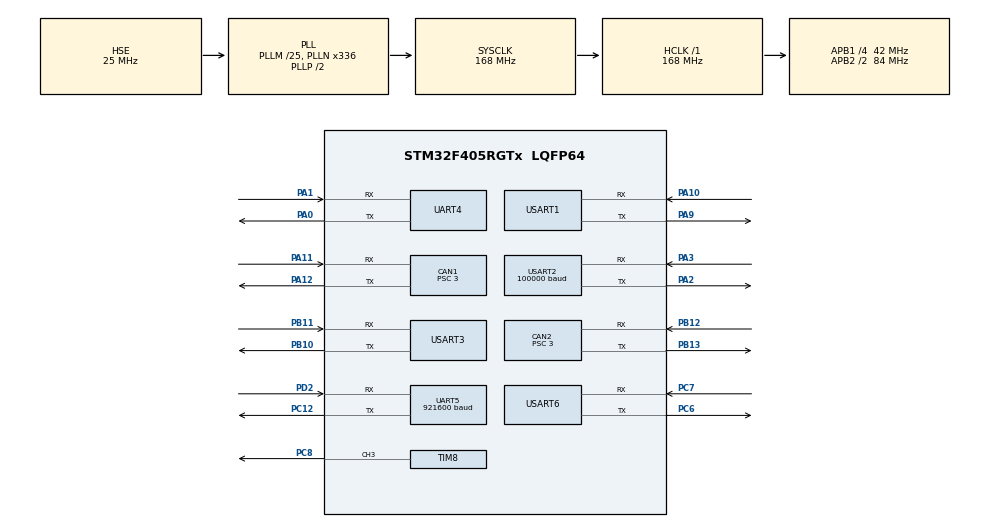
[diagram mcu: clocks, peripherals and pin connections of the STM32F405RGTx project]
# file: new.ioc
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CAN1.ABOM=ENABLE
CAN1.AWUM=ENABLE
CAN1.BS1=CAN_BS1_9TQ
CAN1.BS2=CAN_BS2_4TQ
CAN1.CalculateBaudRate=1000000
CAN1.CalculateTimeBit=1000
CAN1.CalculateTimeQuantum=71.42857142857143
CAN1.NART=DISABLE
CAN1.Prescaler=3
CAN1.TXFP=ENABLE
CAN2.ABOM=ENABLE
CAN2.AWUM=ENABLE
CAN2.BS1=CAN_BS1_9TQ
CAN2.BS2=CAN_BS2_4TQ
CAN2.CalculateBaudRate=1000000
CAN2.CalculateTimeBit=1000
CAN2.CalculateTimeQuantum=71.42857142857143
CAN2.NART=ENABLE
CAN2.Prescaler=3
CAN2.TXFP=ENABLE
Dma.Request0=USART2_RX
Dma.Request1=UART4_RX
Dma.Request2=UART5_RX
Dma.Request3=USART1_RX
Dma.Request4=USART6_RX
Dma.Request5=USART6_TX
Dma.UART4_RX.1.Direction=DMA_PERIPH_TO_MEMORY
Dma.UART4_RX.1.FIFOMode=DMA_FIFOMODE_DISABLE
Dma.UART4_RX.1.Instance=DMA1_Stream2
Dma.UART4_RX.1.MemDataAlignment=DMA_MDATAALIGN_BYTE
Dma.UART4_RX.1.MemInc=DMA_MINC_ENABLE
Dma.UART4_RX.1.Mode=DMA_CIRCULAR
Dma.UART4_RX.1.PeriphDataAlignment=DMA_PDATAALIGN_BYTE
Dma.UART4_RX.1.PeriphInc=DMA_PINC_DISABLE
Dma.UART4_RX.1.Priority=DMA_PRIORITY_VERY_HIGH
Dma.UART5_RX.2.Direction=DMA_PERIPH_TO_MEMORY
Dma.UART5_RX.2.FIFOMode=DMA_FIFOMODE_DISABLE
Dma.UART5_RX.2.Instance=DMA1_Stream0
Dma.UART5_RX.2.MemDataAlignment=DMA_MDATAALIGN_BYTE
Dma.UART5_RX.2.MemInc=DMA_MINC_ENABLE
Dma.UART5_RX.2.Mode=DMA_CIRCULAR
Dma.UART5_RX.2.PeriphDataAlignment=DMA_PDATAALIGN_BYTE
Dma.UART5_RX.2.PeriphInc=DMA_PINC_DISABLE
Dma.UART5_RX.2.Priority=DMA_PRIORITY_VERY_HIGH
Dma.USART1_RX.3.Direction=DMA_PERIPH_TO_MEMORY
Dma.USART1_RX.3.FIFOMode=DMA_FIFOMODE_DISABLE
Dma.USART1_RX.3.Instance=DMA2_Stream2
Dma.USART1_RX.3.MemDataAlignment=DMA_MDATAALIGN_BYTE
Dma.USART1_RX.3.MemInc=DMA_MINC_ENABLE
Dma.USART1_RX.3.Mode=DMA_CIRCULAR
Dma.USART1_RX.3.PeriphDataAlignment=DMA_PDATAALIGN_BYTE
Dma.USART1_RX.3.PeriphInc=DMA_PINC_DISABLE
Dma.USART1_RX.3.Priority=DMA_PRIORITY_VERY_HIGH
Dma.USART2_RX.0.Direction=DMA_PERIPH_TO_MEMORY
Dma.USART2_RX.0.FIFOMode=DMA_FIFOMODE_DISABLE
Dma.USART2_RX.0.Instance=DMA1_Stream5
Dma.USART2_RX.0.MemDataAlignment=DMA_MDATAALIGN_BYTE
Dma.USART2_RX.0.MemInc=DMA_MINC_ENABLE
Dma.USART2_RX.0.Mode=DMA_NORMAL
Dma.USART2_RX.0.PeriphDataAlignment=DMA_PDATAALIGN_BYTE
Dma.USART2_RX.0.PeriphInc=DMA_PINC_DISABLE
Dma.USART2_RX.0.Priority=DMA_PRIORITY_VERY_HIGH
Dma.USART6_RX.4.Direction=DMA_PERIPH_TO_MEMORY
Dma.USART6_RX.4.FIFOMode=DMA_FIFOMODE_DISABLE
Dma.USART6_RX.4.Instance=DMA2_Stream1
Dma.USART6_RX.4.MemDataAlignment=DMA_MDATAALIGN_BYTE
Dma.USART6_RX.4.MemInc=DMA_MINC_ENABLE
Dma.USART6_RX.4.Mode=DMA_CIRCULAR
Dma.USART6_RX.4.PeriphDataAlignment=DMA_PDATAALIGN_BYTE
Dma.USART6_RX.4.PeriphInc=DMA_PINC_DISABLE
Dma.USART6_RX.4.Priority=DMA_PRIORITY_LOW
Dma.USART6_TX.5.Direction=DMA_MEMORY_TO_PERIPH
Dma.USART6_TX.5.FIFOMode=DMA_FIFOMODE_DISABLE
Dma.USART6_TX.5.Instance=DMA2_Stream6
Dma.USART6_TX.5.MemDataAlignment=DMA_MDATAALIGN_BYTE
Dma.USART6_TX.5.MemInc=DMA_MINC_ENABLE
Dma.USART6_TX.5.Mode=DMA_CIRCULAR
Dma.USART6_TX.5.PeriphDataAlignment=DMA_PDATAALIGN_BYTE
Dma.USART6_TX.5.PeriphInc=DMA_PINC_DISABLE
Dma.USART6_TX.5.Priority=DMA_PRIORITY_LOW
FREERTOS.INCLUDE_vTaskDelayUntil=1
FREERTOS.Tasks01=led__task,0,128,led_task,Default,NULL,Dynamic,NULL,NULL;Gimbal__Task,-1,512,Gimbal_Task,Default,NULL,Dynamic,NULL,NULL;can__Task,1,512,can_Task,Default,NULL,Dynamic,NULL,NULL;vofa__Task,-2,128,vofa_Task,Default,NULL,Dynamic,NULL,NULL;Detect__Task,-1,512,Detect_Task,Default,NULL,Dynamic,NULL,NULL
IWDG.Prescaler=IWDG_PRESCALER_32
IWDG.Reload=100
Mcu.Family=STM32F4
Mcu.Name=STM32F405RGTx
Mcu.Package=LQFP64
NVIC.CAN1_RX0_IRQn=true\:5\:0\:true\:false\:true\:true\:true\:true\:true
NVIC.CAN2_RX0_IRQn=true\:5\:0\:true\:false\:true\:true\:true\:true\:true
NVIC.DMA1_Stream0_IRQn=true\:5\:0\:false\:false\:true\:true\:false\:true\:true
NVIC.DMA1_Stream2_IRQn=true\:5\:0\:false\:false\:true\:true\:false\:true\:true
NVIC.DMA1_Stream5_IRQn=true\:5\:0\:true\:false\:true\:true\:false\:true\:true
NVIC.DMA2_Stream1_IRQn=true\:5\:0\:false\:false\:true\:true\:false\:true\:true
NVIC.DMA2_Stream2_IRQn=true\:5\:0\:false\:false\:true\:true\:false\:true\:true
NVIC.DMA2_Stream6_IRQn=true\:5\:0\:false\:false\:true\:true\:false\:true\:true
NVIC.PriorityGroup=NVIC_PRIORITYGROUP_4
NVIC.TIM8_TRG_COM_TIM14_IRQn=true\:15\:0\:true\:false\:true\:false\:false\:true\:true
NVIC.TimeBase=TIM8_TRG_COM_TIM14_IRQn
NVIC.TimeBaseIP=TIM14
NVIC.UART4_IRQn=true\:8\:0\:true\:false\:true\:true\:true\:true\:true
NVIC.UART5_IRQn=true\:5\:0\:true\:false\:true\:true\:true\:true\:true
NVIC.USART1_IRQn=true\:7\:0\:true\:false\:true\:true\:true\:true\:true
NVIC.USART2_IRQn=true\:7\:0\:true\:false\:true\:true\:true\:true\:true
NVIC.USART6_IRQn=true\:9\:0\:true\:false\:true\:true\:true\:true\:true
PA0-WKUP.Mode=Asynchronous
PA0-WKUP.Signal=UART4_TX
PA1.Mode=Asynchronous
PA1.Signal=UART4_RX
PA10.Mode=Asynchronous
PA10.Signal=USART1_RX
PA11.GPIO_PuPd=GPIO_NOPULL
PA11.Mode=CAN_Activate
PA11.Signal=CAN1_RX
PA12.Mode=CAN_Activate
PA12.Signal=CAN1_TX
PA13.Mode=Serial_Wire
PA13.Signal=SYS_JTMS-SWDIO
PA14.Mode=Serial_Wire
PA14.Signal=SYS_JTCK-SWCLK
PA2.GPIO_PuPd=GPIO_PULLUP
PA2.Mode=Asynchronous
PA2.Signal=USART2_TX
PA3.GPIO_PuPd=GPIO_PULLUP
PA3.Mode=Asynchronous
PA3.Signal=USART2_RX
PA9.Mode=Asynchronous
PA9.Signal=USART1_TX
PB10.Mode=Asynchronous
PB10.Signal=USART3_TX
PB11.Mode=Asynchronous
PB11.Signal=USART3_RX
PB12.Mode=CAN_Activate
PB12.Signal=CAN2_RX
PB13.Mode=CAN_Activate
PB13.Signal=CAN2_TX
PC12.Mode=Asynchronous
PC12.Signal=UART5_TX
PC6.Mode=Asynchronous
PC6.Signal=USART6_TX
PC7.Mode=Asynchronous
PC7.Signal=USART6_RX
PC8.Signal=S_TIM8_CH3
PD2.Mode=Asynchronous
PD2.Signal=UART5_RX
PH0-OSC_IN.Mode=HSE-External-Oscillator
PH0-OSC_IN.Signal=RCC_OSC_IN
PH1-OSC_OUT.Mode=HSE-External-Oscillator
PH1-OSC_OUT.Signal=RCC_OSC_OUT
ProjectManager.HeapSize=0x800
ProjectManager.StackSize=0x800
ProjectManager.TargetToolchain=MDK-ARM V5
RCC.48MHZClocksFreq_Value=84000000
RCC.AHBFreq_Value=168000000
RCC.APB1CLKDivider=RCC_HCLK_DIV4
RCC.APB1Freq_Value=42000000
RCC.APB1TimFreq_Value=84000000
RCC.APB2CLKDivider=RCC_HCLK_DIV2
RCC.APB2Freq_Value=84000000
RCC.APB2TimFreq_Value=168000000
RCC.CortexFreq_Value=168000000
RCC.HCLKFreq_Value=168000000
RCC.HSE_VALUE=25000000
RCC.HSI_VALUE=16000000
RCC.LSE_VALUE=32768
RCC.PLLM=25
RCC.PLLN=336
RCC.PLLSourceVirtual=RCC_PLLSOURCE_HSE
RCC.SYSCLKFreq_VALUE=168000000
RCC.SYSCLKSource=RCC_SYSCLKSOURCE_PLLCLK
RCC.VCOOutputFreq_Value=336000000
SH.S_TIM8_CH3.0=TIM8_CH3,PWM Generation3 CH3
STMicroelectronics.X-CUBE-ALGOBUILD.1.3.0.LibraryCcDSPOoLibraryJjDSPOoLibrary=true
TIM8.AutoReloadPreload=TIM_AUTORELOAD_PRELOAD_ENABLE
TIM8.Channel-PWM\ Generation3\ CH3=TIM_CHANNEL_3
TIM8.OCPolarity_3=TIM_OCPOLARITY_HIGH
TIM8.Period=20000-1
TIM8.Prescaler=168-1
TIM8.Pulse-PWM\ Generation3\ CH3=2340
TIM8.RepetitionCounter=250
UART4.VirtualMode=Asynchronous
UART5.BaudRate=921600
UART5.VirtualMode=Asynchronous
USART1.VirtualMode=VM_ASYNC
USART2.BaudRate=100000
USART2.Parity=PARITY_EVEN
USART2.VirtualMode=VM_ASYNC
USART2.WordLength=WORDLENGTH_9B
USART3.VirtualMode=VM_ASYNC
USART6.VirtualMode=VM_ASYNC
VP_FREERTOS_VS_CMSIS_V1.Mode=CMSIS_V1
VP_IWDG_VS_IWDG.Mode=IWDG_Activate
VP_STMicroelectronics.X-CUBE-ALGOBUILD_VS_DSPOoLibraryJjLibrary_1.3.0_1.3.0.Mode=DSPOoLibraryJjLibrary
VP_SYS_VS_tim14.Mode=TIM14
board=custom

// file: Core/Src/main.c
/* USER CODE BEGIN Header */
/**
  ******************************************************************************
  * @file           : main.c
  * @brief          : Main program body
  ******************************************************************************
  * @attention
  *
  * Copyright (c) 2022 STMicroelectronics.
  * All rights reserved.
  *
  * This software is licensed under terms that can be found in the LICENSE file
  * in the root directory of this software component.
  * If no LICENSE file comes with this software, it is provided AS-IS.
  *
  ******************************************************************************
  */
/* USER CODE END Header */
#include "main.h"
#include "cmsis_os.h"
#include "can.h"
#include "dma.h"
#include "iwdg.h"
#include "tim.h"
#include "usart.h"
#include "gpio.h"

/* USER CODE BEGIN Includes */
#include "rc.h"
#include "pid.h"
#include "imu_data_decode.h"
#include "Report.h"
#include "vision.h"
extern void PID_init(void);
/* USER CODE END Includes */

/* USER CODE BEGIN PV */
extern uint8_t hi229_data;
extern uint8_t MPU_data;
extern uint8_t UART1_Rx_Buf[14];
extern uint8_t ranging_rc_buffer[8];
/* USER CODE END PV */

void SystemClock_Config(void);
void MX_FREERTOS_Init(void);

/* USER CODE BEGIN 0 */

extern unsigned char sbus_rx_buffer[2][RC_FRAME_LENGTH]; //double sbus rx buffer to save data
extern uint8_t UART4_Rx_temp[2][REFFER_REC_LENGTH];
extern uint8_t UART4_Flag;
/* USER CODE END 0 */

int main(void)
{

  /* MCU Configuration--------------------------------------------------------*/

  /* Reset of all peripherals, Initializes the Flash interface and the Systick. */
  HAL_Init();

  /* Configure the system clock */
  SystemClock_Config();

  /* Initialize all configured peripherals */
  MX_GPIO_Init();
  MX_DMA_Init();
  MX_CAN1_Init();
  MX_CAN2_Init();
  MX_USART2_UART_Init();
  MX_UART5_Init();
  MX_TIM8_Init();
  MX_USART3_UART_Init();
  MX_UART4_Init();
  MX_USART1_UART_Init();
  MX_IWDG_Init();
  MX_USART6_UART_Init();
  /* USER CODE BEGIN 2 */
	CAN1_Filterinit_And_Start();
	CAN2_Filterinit_And_Start();
	PID_init();
  Usart_Init_Report();
  imu_data_decode_init();

  HAL_TIM_PWM_Start(&htim8,TIM_CHANNEL_3);

/*
  __HAL_UART_ENABLE_IT(&huart1, UART_IT_IDLE);
	HAL_UART_Receive_DMA(&huart1,UART1_Rx_Buf,6);
*/

	HAL_UART_Receive_DMA(&huart5,&MPU_data,1);
  //__HAL_TIM_SET_COMPARE(&htim8,TIM_CHANNEL_3,100);

	HAL_UART_Receive_DMA(&huart2,&sbus_rx_buffer[0][0],RC_FRAME_LENGTH);
	HAL_UART_Receive_DMA(&huart6,(uint8_t*)&ranging_rc_buffer[0],8u);

  /* USER CODE END 2 */

  /* Call init function for freertos objects (in freertos.c) */
  MX_FREERTOS_Init();

  /* Start scheduler */
  osKernelStart();

  /* We should never get here as control is now taken by the scheduler */
  /* Infinite loop */
  while (1)
  {

  }
}

void SystemClock_Config(void)
{
  RCC_OscInitTypeDef RCC_OscInitStruct = {0};
  RCC_ClkInitTypeDef RCC_ClkInitStruct = {0};

  /** Configure the main internal regulator output voltage
  */
  __HAL_RCC_PWR_CLK_ENABLE();
  __HAL_PWR_VOLTAGESCALING_CONFIG(PWR_REGULATOR_VOLTAGE_SCALE1);

  /** Initializes the RCC Oscillators according to the specified parameters
  * in the RCC_OscInitTypeDef structure.
  */
  RCC_OscInitStruct.OscillatorType = RCC_OSCILLATORTYPE_LSI|RCC_OSCILLATORTYPE_HSE;
  RCC_OscInitStruct.HSEState = RCC_HSE_ON;
  RCC_OscInitStruct.LSIState = RCC_LSI_ON;
  RCC_OscInitStruct.PLL.PLLState = RCC_PLL_ON;
  RCC_OscInitStruct.PLL.PLLSource = RCC_PLLSOURCE_HSE;
  RCC_OscInitStruct.PLL.PLLM = 25;
  RCC_OscInitStruct.PLL.PLLN = 336;
  RCC_OscInitStruct.PLL.PLLP = RCC_PLLP_DIV2;
  RCC_OscInitStruct.PLL.PLLQ = 4;
  if (HAL_RCC_OscConfig(&RCC_OscInitStruct) != HAL_OK)
  {
    Error_Handler();
  }

  /** Initializes the CPU, AHB and APB buses clocks
  */
  RCC_ClkInitStruct.ClockType = RCC_CLOCKTYPE_HCLK|RCC_CLOCKTYPE_SYSCLK
                              |RCC_CLOCKTYPE_PCLK1|RCC_CLOCKTYPE_PCLK2;
  RCC_ClkInitStruct.SYSCLKSource = RCC_SYSCLKSOURCE_PLLCLK;
  RCC_ClkInitStruct.AHBCLKDivider = RCC_SYSCLK_DIV1;
  RCC_ClkInitStruct.APB1CLKDivider = RCC_HCLK_DIV4;
  RCC_ClkInitStruct.APB2CLKDivider = RCC_HCLK_DIV2;

  if (HAL_RCC_ClockConfig(&RCC_ClkInitStruct, FLASH_LATENCY_5) != HAL_OK)
  {
    Error_Handler();
  }
}

void HAL_TIM_PeriodElapsedCallback(TIM_HandleTypeDef *htim)
{
  if (htim->Instance == TIM14) {
    HAL_IncTick();
  }
}

void Error_Handler(void)
{
  __disable_irq();
  while (1)
  {
  }
}

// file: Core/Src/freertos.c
/* USER CODE BEGIN Header */
/**
  ******************************************************************************
  * File Name          : freertos.c
  * Description        : Code for freertos applications
  ******************************************************************************
  * @attention
  *
  * Copyright (c) 2022 STMicroelectronics.
  * All rights reserved.
  *
  * This software is licensed under terms that can be found in the LICENSE file
  * in the root directory of this software component.
  * If no LICENSE file comes with this software, it is provided AS-IS.
  *
  ******************************************************************************
  */
/* USER CODE END Header */

#include "FreeRTOS.h"
#include "task.h"
#include "main.h"
#include "cmsis_os.h"

/* USER CODE BEGIN Includes */
#include "rc.h"
#include "offline.h"
#include "pid.h"
#include "can.h"
#include "vision.h"
#include "Report.h"
#include "referee.h"
#include "detect_task.h"
#include "chassis_mode.h"
#include "Ranging.h"
#include "kalman.h"

extern void Chassis_PID(void);
extern void Gimbal_PID(void);
extern void dial_PID(void);
extern void Friction_PID(void);
extern int infra_red_GPIO;
extern int infra_red_MODE;
/* USER CODE END Includes */

osThreadId led__taskHandle;
osThreadId Gimbal__TaskHandle;
osThreadId can__TaskHandle;
osThreadId vofa__TaskHandle;
osThreadId Detect__TaskHandle;

void led_task(void const * argument);
void Gimbal_Task(void const * argument);
void can_Task(void const * argument);
void vofa_Task(void const * argument);
void Detect_Task(void const * argument);

void MX_FREERTOS_Init(void); /* (MISRA C 2004 rule 8.1) */

/* GetIdleTaskMemory prototype (linked to static allocation support) */
void vApplicationGetIdleTaskMemory( StaticTask_t **ppxIdleTaskTCBBuffer, StackType_t **ppxIdleTaskStackBuffer, uint32_t *pulIdleTaskStackSize );

/* USER CODE BEGIN GET_IDLE_TASK_MEMORY */
static StaticTask_t xIdleTaskTCBBuffer;
static StackType_t xIdleStack[configMINIMAL_STACK_SIZE];

void vApplicationGetIdleTaskMemory( StaticTask_t **ppxIdleTaskTCBBuffer, StackType_t **ppxIdleTaskStackBuffer, uint32_t *pulIdleTaskStackSize )
{
  *ppxIdleTaskTCBBuffer = &xIdleTaskTCBBuffer;
  *ppxIdleTaskStackBuffer = &xIdleStack[0];
  *pulIdleTaskStackSize = configMINIMAL_STACK_SIZE;
  /* place for user code */
}
/* USER CODE END GET_IDLE_TASK_MEMORY */

void MX_FREERTOS_Init(void) {

  /* Create the thread(s) */
  /* definition and creation of led__task */
  osThreadDef(led__task, led_task, osPriorityNormal, 0, 128);
  led__taskHandle = osThreadCreate(osThread(led__task), NULL);

  /* definition and creation of Gimbal__Task */
  osThreadDef(Gimbal__Task, Gimbal_Task, osPriorityBelowNormal, 0, 512);
  Gimbal__TaskHandle = osThreadCreate(osThread(Gimbal__Task), NULL);

  /* definition and creation of can__Task */
  osThreadDef(can__Task, can_Task, osPriorityAboveNormal, 0, 512);
  can__TaskHandle = osThreadCreate(osThread(can__Task), NULL);

  /* definition and creation of vofa__Task */
  osThreadDef(vofa__Task, vofa_Task, osPriorityLow, 0, 128);
  vofa__TaskHandle = osThreadCreate(osThread(vofa__Task), NULL);

  /* definition and creation of Detect__Task */
  osThreadDef(Detect__Task, Detect_Task, osPriorityBelowNormal, 0, 512);
  Detect__TaskHandle = osThreadCreate(osThread(Detect__Task), NULL);

}

void led_task(void const * argument)
{
  for(;;)
  {
    osDelay(1);
  }
}

/* USER CODE BEGIN Header_Gimbal_Task */
/**
* @brief Function implementing the Gimbal__Task thread.
* @param argument: Not used
* @retval None
*/
extern L1_DATA_T L1_Data;
int cnt629=0;
/* USER CODE END Header_Gimbal_Task */
void Gimbal_Task(void const * argument)
{
  /* USER CODE BEGIN Gimbal_Task */
	static portTickType PreviousWakeTime1;
	const portTickType TimeIncrement=pdMS_TO_TICKS(2);
	PreviousWakeTime1=xTaskGetTickCount();
  /* Infinite loop */
  for(;;)
  {
		cnt629++;

		ReadRc_Gimbal();
		Gimbal_PID();
		Friction_PID();

		ReadRc_dial();
		dial_PID();

	  vTaskDelayUntil(&PreviousWakeTime1,TimeIncrement);
  }
  /* USER CODE END Gimbal_Task */
}

/* USER CODE BEGIN Header_can_Task */
/**
* @brief Function implementing the can__Task thread.
* @param argument: Not used
* @retval None
*/
extern KEY	KEY_Date;
int chasses_pcb_rst=0;
extern RC_Ctl_t RC_CtrlData;
extern int FRI_slove_sign;
/* USER CODE END Header_can_Task */
void can_Task(void const * argument)
{
  /* USER CODE BEGIN can_Task */
	static portTickType PreviousWakeTime1;
	const portTickType TimeIncrement=pdMS_TO_TICKS(5);
	PreviousWakeTime1=xTaskGetTickCount();
  /* Infinite loop */
  for(;;)
  {
		Offline_task();
		if(KEY_Date.Ctrl==1) chasses_pcb_rst=1;
		else if (KEY_Date.Ctrl==0) chasses_pcb_rst=0;
	  CAN1_send();
	  CAN2_send();
		vTaskDelayUntil(&PreviousWakeTime1,TimeIncrement);
  }
  /* USER CODE END can_Task */
}

/* USER CODE BEGIN Header_vofa_Task */
/**
* @brief Function implementing the vofa__Task thread.
* @param argument: Not used
* @retval None
*/
int cnt16=0;
extern 	int16_t left_X;
extern 	int16_t left_Y;
extern RC_Ctl_t RC_CtrlData;
extern uint8_t ranging_flag;
extern uint8_t ranging_rc_buffer[8];
uint32_t ranging_distance;
double ranging_x;
int L1_Distance;
extern int dial_sign1;
/* USER CODE END Header_vofa_Task */
void vofa_Task(void const * argument)
{
  /* USER CODE BEGIN vofa_Task */
  static portTickType PreviousWakeTime1;
	const portTickType TimeIncrement=pdMS_TO_TICKS(2);
	PreviousWakeTime1=xTaskGetTickCount();
  /* Infinite loop */
  for(;;)
  {
		if(ranging_flag==1)
		{
			if(ranging_rc_buffer[2]==3 ||ranging_rc_buffer[2]==4)
			{
				for(int i=3;i<=6;i++)
				{
					ranging_distance=((ranging_distance << 8) | ranging_rc_buffer[i]);
				}
				ranging_x=ranging_distance;
			}
			ranging_flag=0;
		}

		cnt16++;
		CAN1_0x748_TX(RC_CtrlData.rc.s1,RC_CtrlData.rc.s2,RC_CtrlData.mouse.press_l,FRI_slove_sign,RC_CtrlData.rc.ch0,RC_CtrlData.rc.ch1);
		CAN1_0x478_TX(0,RC_CtrlData.key.v,RC_CtrlData.mouse.x,RC_CtrlData.rc.ch2,RC_CtrlData.rc.ch3);

		report_SendData(pitch_outer_pid.target,pitch_outer_pid.ActualSpeed,left_X,dial_motor.ActualSpeed,dial_motor.target_speed);
		vTaskDelayUntil(&PreviousWakeTime1,TimeIncrement);
  }
  /* USER CODE END vofa_Task */
}

void Detect_Task(void const * argument)
{
  /* USER CODE BEGIN Detect_Task */

  detect_init();

  static portTickType PreviousWakeTime1;
  const portTickType TimeIncrement=pdMS_TO_TICKS(57);
  PreviousWakeTime1=xTaskGetTickCount();

  /* Infinite loop */
  for(;;)
  {
    	DetectTask();
			vTaskDelayUntil(&PreviousWakeTime1,TimeIncrement);
   		vTaskDelay(DETECT_TASK_INIT_TIME);
  }
  /* USER CODE END Detect_Task */
}
